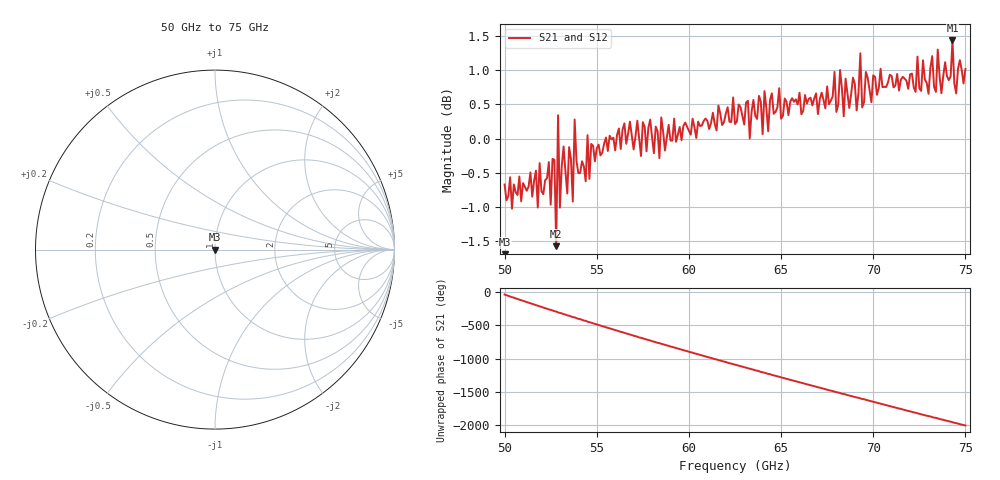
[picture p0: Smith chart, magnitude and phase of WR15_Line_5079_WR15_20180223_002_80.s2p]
# GHZ S RI R 50
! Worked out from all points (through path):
!   251 points, 50 GHz to 75 GHz, reference 50 ohm
!   highest |S21| = 1.43 dB at 74.3 GHz (marker M1); lowest = -1.6 dB at 52.8 GHz (marker M2)
!   lowest |S11| = - dB at 50 GHz (marker M3), VSWR 1.00, Z = 50 - j3.24e-15 ohm
!   |S11| at or under -10 dB: start of sweep to end of sweep
!   |S22| runs from - to - dB; largest |S21 - S12| = 1e-14
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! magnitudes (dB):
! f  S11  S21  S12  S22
! 50 GHz  -  -0.7  -0.7  -
! 51.8 GHz  -  -1.0  -1.0  -
! 52.4 GHz  -  -0.3  -0.3  -
! 52.5 GHz  -  -1.0  -1.0  -
! 52.7 GHz  -  -0.3  -0.3  -
! 52.8 GHz  -  -1.6  -1.6  -
! 52.9 GHz  -  0.3  0.3  -
! 53 GHz  -  -1.0  -1.0  -
! 53.2 GHz  -  -0.1  -0.1  -
! 53.7 GHz  -  -0.9  -0.9  -
! 53.8 GHz  -  0.3  0.3  -
! 54.2 GHz  -  -0.3  -0.3  -
! 58.4 GHz  -  -0.3  -0.3  -
! 62.5 GHz  -  0.2  0.2  -
! 66.7 GHz  -  0.5  0.5  -
! 70.9 GHz  -  0.9  0.9  -
! 73.4 GHz  -  0.7  0.7  -
! 73.5 GHz  -  1.3  1.3  -
! 73.7 GHz  -  0.7  0.7  -
! 74.3 GHz  -  1.4  1.4  -
! 74.5 GHz  -  0.7  0.7  -
! 75 GHz  -  1.0  1.0  -
